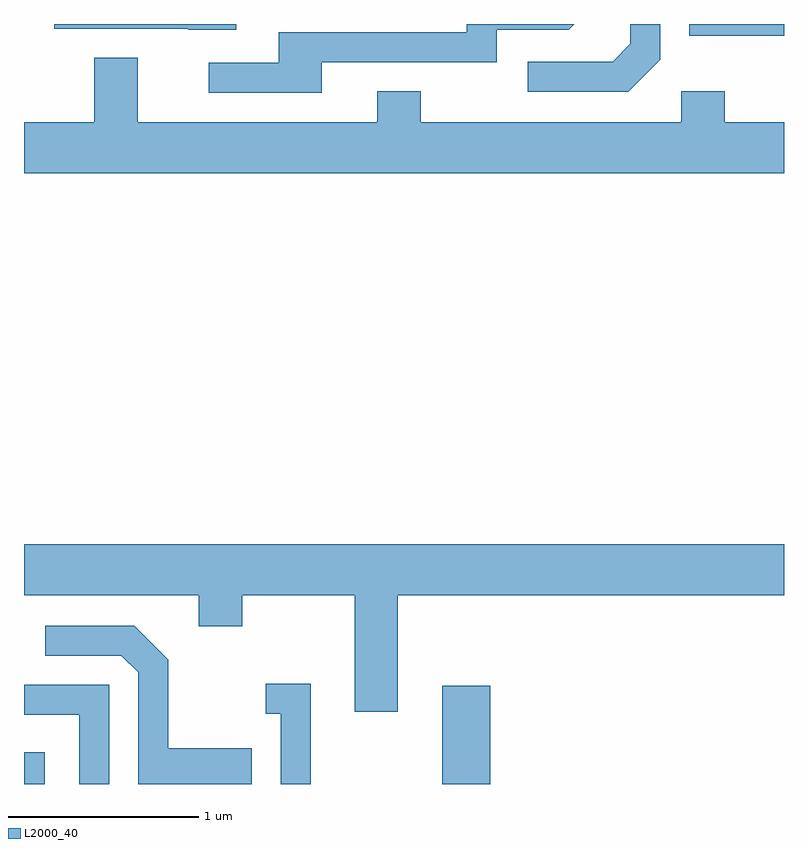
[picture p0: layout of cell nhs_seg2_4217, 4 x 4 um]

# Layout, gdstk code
import gdstk
lib = gdstk.Library(unit=1e-6, precision=1e-09)
def R(c, l, rs):  # rectangles x0, y0, x1, y1
    for r in rs: c.add(gdstk.rectangle(r[:2], r[2:], *l))
def P(c, l, *ps):  # polygons
    for p in ps: c.add(gdstk.Polygon(p, *l))
L2000_40 = (2000, 40)

nhs_seg2_4217 = lib.new_cell('nhs_seg2_4217')
R(nhs_seg2_4217, L2000_40, [(309.611,1011.802,309.719,1011.969), (311.811,1011.802,312.064,1012.319), (313.111,1015.741,313.611,1015.802)])
P(nhs_seg2_4217, L2000_40, [(311.179,1015.601),(312.099,1015.601),(312.099,1015.771),(312.477,1015.771),(312.508,1015.802),(311.941,1015.802),(311.941,1015.759),(310.951,1015.759),(310.951,1015.599),(310.583,1015.599),(310.583,1015.441),(311.179,1015.441)],
  [(312.959,1015.614),(312.959,1015.802),(312.801,1015.802),(312.801,1015.697),(312.709,1015.604),(312.263,1015.604),(312.263,1015.446),(312.792,1015.446)],
  [(310.729,1015.802),(309.771,1015.802),(309.771,1015.776),(310.475,1015.776),(310.475,1015.771),(310.729,1015.771)],
  [(313.611,1015.284),(313.299,1015.284),(313.299,1015.449),(313.071,1015.449),(313.071,1015.284),(311.699,1015.284),(311.699,1015.449),(311.471,1015.449),(311.471,1015.284),(310.209,1015.284),(310.209,1015.624),(309.981,1015.624),(309.981,1015.284),(309.611,1015.284),(309.611,1015.016),(313.611,1015.016)],
  [(311.579,1012.796),(313.611,1012.796),(313.611,1013.064),(309.611,1013.064),(309.611,1012.796),(310.531,1012.796),(310.531,1012.631),(310.759,1012.631),(310.759,1012.796),(311.351,1012.796),(311.351,1012.181),(311.579,1012.181)],
  [(310.809,1011.989),(310.369,1011.989),(310.369,1012.457),(310.192,1012.634),(309.723,1012.634),(309.723,1012.476),(310.124,1012.476),(310.211,1012.389),(310.211,1011.802),(310.809,1011.802)],
  [(311.119,1012.329),(310.883,1012.329),(310.883,1012.171),(310.961,1012.171),(310.961,1011.802),(311.119,1011.802)],
  [(310.059,1012.324),(309.611,1012.324),(309.611,1012.166),(309.901,1012.166),(309.901,1011.802),(310.059,1011.802)])

lib.write_gds('nhs_seg2_4217.gds')
